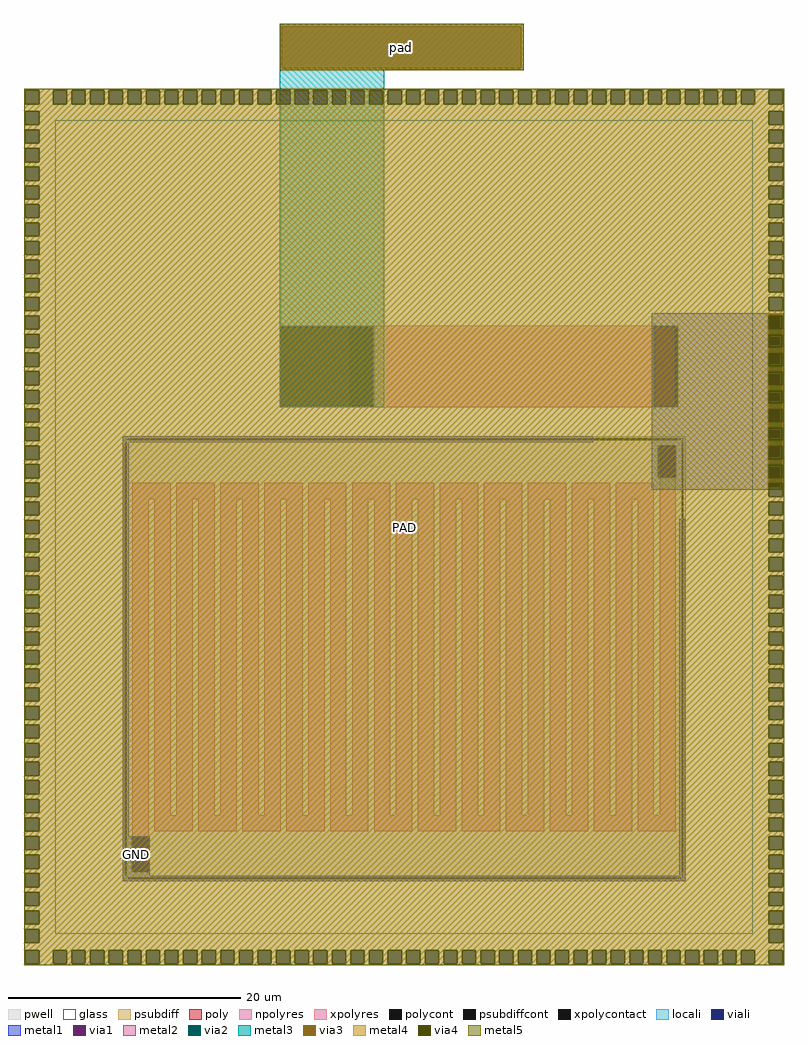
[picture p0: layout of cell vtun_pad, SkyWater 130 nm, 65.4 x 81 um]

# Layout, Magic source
magic
tech sky130A
magscale 1 2
<< pwell >>
rect 1700 1440 11386 9104
<< psubdiff >>
rect 1736 9034 1832 9068
rect 11254 9034 11350 9068
rect 1736 8972 1770 9034
rect 11316 8972 11350 9034
rect 1736 1510 1770 1572
rect 11316 1510 11350 1572
rect 1736 1476 1832 1510
rect 11254 1476 11350 1510
<< psubdiffcont >>
rect 1832 9034 11254 9068
rect 1736 1572 1770 8972
rect 11316 1572 11350 8972
rect 1832 1476 11254 1510
<< poly >>
rect 5600 10984 6030 11000
rect 5600 9616 5616 10984
rect 5650 9616 6030 10984
rect 5600 9600 6030 9616
rect 10830 10984 11260 11000
rect 10830 9616 11210 10984
rect 11244 9616 11260 10984
rect 10830 9600 11260 9616
<< polycont >>
rect 5616 9616 5650 10984
rect 11210 9616 11244 10984
<< xpolycontact >>
rect 10938 8406 11220 8938
rect 1866 1606 2148 2198
<< npolyres >>
rect 6030 9600 10830 11000
<< xpolyres >>
rect 1866 8020 2526 8302
rect 1866 2198 2148 8020
rect 2244 2584 2526 8020
rect 2622 8020 3282 8302
rect 2622 2584 2904 8020
rect 2244 2302 2904 2584
rect 3000 2584 3282 8020
rect 3378 8020 4038 8302
rect 3378 2584 3660 8020
rect 3000 2302 3660 2584
rect 3756 2584 4038 8020
rect 4134 8020 4794 8302
rect 4134 2584 4416 8020
rect 3756 2302 4416 2584
rect 4512 2584 4794 8020
rect 4890 8020 5550 8302
rect 4890 2584 5172 8020
rect 4512 2302 5172 2584
rect 5268 2584 5550 8020
rect 5646 8020 6306 8302
rect 5646 2584 5928 8020
rect 5268 2302 5928 2584
rect 6024 2584 6306 8020
rect 6402 8020 7062 8302
rect 6402 2584 6684 8020
rect 6024 2302 6684 2584
rect 6780 2584 7062 8020
rect 7158 8020 7818 8302
rect 7158 2584 7440 8020
rect 6780 2302 7440 2584
rect 7536 2584 7818 8020
rect 7914 8020 8574 8302
rect 7914 2584 8196 8020
rect 7536 2302 8196 2584
rect 8292 2584 8574 8020
rect 8670 8020 9330 8302
rect 8670 2584 8952 8020
rect 8292 2302 8952 2584
rect 9048 2584 9330 8020
rect 9426 8020 10086 8302
rect 9426 2584 9708 8020
rect 9048 2302 9708 2584
rect 9804 2584 10086 8020
rect 10182 8020 10842 8302
rect 10182 2584 10464 8020
rect 9804 2302 10464 2584
rect 10560 2584 10842 8020
rect 10938 2584 11220 8406
rect 10560 2302 11220 2584
<< locali >>
rect 5616 10984 5650 11000
rect 11210 10984 11244 11000
rect 5616 9600 5650 9616
rect 11210 9600 11244 9616
rect 1736 9034 1832 9068
rect 11254 9034 11350 9068
rect 1736 8972 1770 9034
rect 11316 8972 11350 9034
rect 1736 1510 1770 1572
rect 11316 1510 11350 1572
rect 1736 1476 1832 1510
rect 11254 1476 11350 1510
<< viali >>
rect 5616 9616 5650 10984
rect 5650 9616 6013 10984
rect 10847 9616 11210 10984
rect 11210 9616 11244 10984
rect 10920 8938 11220 8940
rect 10920 8406 10938 8938
rect 10938 8406 11220 8938
rect 10920 8400 11220 8406
rect 1866 1606 2148 2198
<< metal1 >>
rect 10800 11200 13080 11220
rect 4400 10984 6020 11000
rect 4400 10980 5616 10984
rect 4400 9620 4420 10980
rect 4400 9616 5616 9620
rect 6013 9616 6020 10984
rect 4400 9600 6020 9616
rect 10800 10984 12820 11200
rect 10800 9616 10847 10984
rect 11244 9616 12820 10984
rect 1700 9000 9800 9104
rect 1700 2220 1800 9000
rect 10800 8940 12820 9616
rect 10800 8400 10920 8940
rect 11220 8400 12820 8940
rect 10800 8200 12820 8400
rect 13060 8200 13080 11200
rect 10800 8180 13080 8200
rect 1700 2198 2160 2220
rect 1700 1606 1866 2198
rect 2148 1606 2160 2198
rect 1700 1540 2160 1606
rect 11280 1540 11380 7680
rect 1700 1440 11380 1540
<< via1 >>
rect 4420 9620 5616 10980
rect 5616 9620 6000 10980
rect 12820 8200 13060 11200
<< metal2 >>
rect 12800 11200 13080 11220
rect 4400 10980 6020 11000
rect 4400 9620 4420 10980
rect 6000 9620 6020 10980
rect 4400 9600 6020 9620
rect 12800 8200 12820 11200
rect 13060 8200 13080 11200
rect 12800 8180 13080 8200
<< via2 >>
rect 4420 9620 6000 10980
rect 12820 8200 13060 11200
<< metal3 >>
rect 4400 16160 8600 16200
rect 4400 15440 4440 16160
rect 8560 15440 8600 16160
rect 4400 15400 8600 15440
rect 4400 10980 6200 15400
rect 4400 9620 4420 10980
rect 6000 9620 6200 10980
rect 4400 9600 6200 9620
rect 12800 11200 13080 11220
rect 12800 8200 12820 11200
rect 13060 8200 13080 11200
rect 12800 8180 13080 8200
<< via3 >>
rect 4440 15440 8560 16160
rect 12820 8200 13060 11200
<< metal4 >>
rect 4400 16160 8600 16200
rect 4400 15440 4440 16160
rect 8560 15440 8600 16160
rect 4400 15400 8600 15440
rect 0 15056 13080 15080
rect 0 14820 24 15056
rect 260 14820 502 15056
rect 738 14820 822 15056
rect 1058 14820 1142 15056
rect 1378 14820 1462 15056
rect 1698 14820 1782 15056
rect 2018 14820 2102 15056
rect 2338 14820 2422 15056
rect 2658 14820 2742 15056
rect 2978 14820 3062 15056
rect 3298 14820 3382 15056
rect 3618 14820 3702 15056
rect 3938 14820 4022 15056
rect 4258 14820 4342 15056
rect 4578 14820 4662 15056
rect 4898 14820 4982 15056
rect 5218 14820 5302 15056
rect 5538 14820 5622 15056
rect 5858 14820 5942 15056
rect 6178 14820 6262 15056
rect 6498 14820 6582 15056
rect 6818 14820 6902 15056
rect 7138 14820 7222 15056
rect 7458 14820 7542 15056
rect 7778 14820 7862 15056
rect 8098 14820 8182 15056
rect 8418 14820 8502 15056
rect 8738 14820 8822 15056
rect 9058 14820 9142 15056
rect 9378 14820 9462 15056
rect 9698 14820 9782 15056
rect 10018 14820 10102 15056
rect 10338 14820 10422 15056
rect 10658 14820 10742 15056
rect 10978 14820 11062 15056
rect 11298 14820 11382 15056
rect 11618 14820 11702 15056
rect 11938 14820 12022 15056
rect 12258 14820 12342 15056
rect 12578 14820 12820 15056
rect 13056 14820 13080 15056
rect 0 14698 13080 14820
rect 0 14462 24 14698
rect 260 14462 12820 14698
rect 13056 14462 13080 14698
rect 0 14378 13080 14462
rect 0 14142 24 14378
rect 260 14142 12820 14378
rect 13056 14142 13080 14378
rect 0 14058 13080 14142
rect 0 13822 24 14058
rect 260 13822 12820 14058
rect 13056 13822 13080 14058
rect 0 13738 13080 13822
rect 0 13502 24 13738
rect 260 13502 12820 13738
rect 13056 13502 13080 13738
rect 0 13418 13080 13502
rect 0 13182 24 13418
rect 260 13182 12820 13418
rect 13056 13182 13080 13418
rect 0 13098 13080 13182
rect 0 12862 24 13098
rect 260 12862 12820 13098
rect 13056 12862 13080 13098
rect 0 12778 13080 12862
rect 0 12542 24 12778
rect 260 12542 12820 12778
rect 13056 12542 13080 12778
rect 0 12458 13080 12542
rect 0 12222 24 12458
rect 260 12222 12820 12458
rect 13056 12222 13080 12458
rect 0 12138 13080 12222
rect 0 11902 24 12138
rect 260 11902 12820 12138
rect 13056 11902 13080 12138
rect 0 11818 13080 11902
rect 0 11582 24 11818
rect 260 11582 12820 11818
rect 13056 11582 13080 11818
rect 0 11498 13080 11582
rect 0 11262 24 11498
rect 260 11262 12820 11498
rect 13056 11262 13080 11498
rect 0 11200 13080 11262
rect 0 11178 12820 11200
rect 0 10942 24 11178
rect 260 10942 12820 11178
rect 0 10858 12820 10942
rect 0 10622 24 10858
rect 260 10622 12820 10858
rect 0 10538 12820 10622
rect 0 10302 24 10538
rect 260 10302 12820 10538
rect 0 10218 12820 10302
rect 0 9982 24 10218
rect 260 9982 12820 10218
rect 0 9898 12820 9982
rect 0 9662 24 9898
rect 260 9662 12820 9898
rect 0 9578 12820 9662
rect 0 9342 24 9578
rect 260 9342 12820 9578
rect 0 9258 12820 9342
rect 0 9022 24 9258
rect 260 9022 12820 9258
rect 0 8938 12820 9022
rect 0 8702 24 8938
rect 260 8702 12820 8938
rect 0 8618 12820 8702
rect 0 8382 24 8618
rect 260 8382 12820 8618
rect 0 8298 12820 8382
rect 0 8062 24 8298
rect 260 8062 12820 8298
rect 13060 8200 13080 11200
rect 13056 8062 13080 8200
rect 0 7978 13080 8062
rect 0 7742 24 7978
rect 260 7742 12820 7978
rect 13056 7742 13080 7978
rect 0 7658 13080 7742
rect 0 7422 24 7658
rect 260 7422 12820 7658
rect 13056 7422 13080 7658
rect 0 7338 13080 7422
rect 0 7102 24 7338
rect 260 7102 12820 7338
rect 13056 7102 13080 7338
rect 0 7018 13080 7102
rect 0 6782 24 7018
rect 260 6782 12820 7018
rect 13056 6782 13080 7018
rect 0 6698 13080 6782
rect 0 6462 24 6698
rect 260 6462 12820 6698
rect 13056 6462 13080 6698
rect 0 6378 13080 6462
rect 0 6142 24 6378
rect 260 6142 12820 6378
rect 13056 6142 13080 6378
rect 0 6058 13080 6142
rect 0 5822 24 6058
rect 260 5822 12820 6058
rect 13056 5822 13080 6058
rect 0 5738 13080 5822
rect 0 5502 24 5738
rect 260 5502 12820 5738
rect 13056 5502 13080 5738
rect 0 5418 13080 5502
rect 0 5182 24 5418
rect 260 5182 12820 5418
rect 13056 5182 13080 5418
rect 0 5098 13080 5182
rect 0 4862 24 5098
rect 260 4862 12820 5098
rect 13056 4862 13080 5098
rect 0 4778 13080 4862
rect 0 4542 24 4778
rect 260 4542 12820 4778
rect 13056 4542 13080 4778
rect 0 4458 13080 4542
rect 0 4222 24 4458
rect 260 4222 12820 4458
rect 13056 4222 13080 4458
rect 0 4138 13080 4222
rect 0 3902 24 4138
rect 260 3902 12820 4138
rect 13056 3902 13080 4138
rect 0 3818 13080 3902
rect 0 3582 24 3818
rect 260 3582 12820 3818
rect 13056 3582 13080 3818
rect 0 3498 13080 3582
rect 0 3262 24 3498
rect 260 3262 12820 3498
rect 13056 3262 13080 3498
rect 0 3178 13080 3262
rect 0 2942 24 3178
rect 260 2942 12820 3178
rect 13056 2942 13080 3178
rect 0 2858 13080 2942
rect 0 2622 24 2858
rect 260 2622 12820 2858
rect 13056 2622 13080 2858
rect 0 2538 13080 2622
rect 0 2302 24 2538
rect 260 2302 12820 2538
rect 13056 2302 13080 2538
rect 0 2218 13080 2302
rect 0 1982 24 2218
rect 260 1982 12820 2218
rect 13056 1982 13080 2218
rect 0 1898 13080 1982
rect 0 1662 24 1898
rect 260 1662 12820 1898
rect 13056 1662 13080 1898
rect 0 1578 13080 1662
rect 0 1342 24 1578
rect 260 1342 12820 1578
rect 13056 1342 13080 1578
rect 0 1258 13080 1342
rect 0 1022 24 1258
rect 260 1022 12820 1258
rect 13056 1022 13080 1258
rect 0 938 13080 1022
rect 0 702 24 938
rect 260 702 12820 938
rect 13056 702 13080 938
rect 0 618 13080 702
rect 0 382 24 618
rect 260 382 12820 618
rect 13056 382 13080 618
rect 0 260 13080 382
rect 0 24 24 260
rect 260 24 502 260
rect 738 24 822 260
rect 1058 24 1142 260
rect 1378 24 1462 260
rect 1698 24 1782 260
rect 2018 24 2102 260
rect 2338 24 2422 260
rect 2658 24 2742 260
rect 2978 24 3062 260
rect 3298 24 3382 260
rect 3618 24 3702 260
rect 3938 24 4022 260
rect 4258 24 4342 260
rect 4578 24 4662 260
rect 4898 24 4982 260
rect 5218 24 5302 260
rect 5538 24 5622 260
rect 5858 24 5942 260
rect 6178 24 6262 260
rect 6498 24 6582 260
rect 6818 24 6902 260
rect 7138 24 7222 260
rect 7458 24 7542 260
rect 7778 24 7862 260
rect 8098 24 8182 260
rect 8418 24 8502 260
rect 8738 24 8822 260
rect 9058 24 9142 260
rect 9378 24 9462 260
rect 9698 24 9782 260
rect 10018 24 10102 260
rect 10338 24 10422 260
rect 10658 24 10742 260
rect 10978 24 11062 260
rect 11298 24 11382 260
rect 11618 24 11702 260
rect 11938 24 12022 260
rect 12258 24 12342 260
rect 12578 24 12820 260
rect 13056 24 13080 260
rect 0 0 13080 24
<< via4 >>
rect 24 14820 260 15056
rect 502 14820 738 15056
rect 822 14820 1058 15056
rect 1142 14820 1378 15056
rect 1462 14820 1698 15056
rect 1782 14820 2018 15056
rect 2102 14820 2338 15056
rect 2422 14820 2658 15056
rect 2742 14820 2978 15056
rect 3062 14820 3298 15056
rect 3382 14820 3618 15056
rect 3702 14820 3938 15056
rect 4022 14820 4258 15056
rect 4342 14820 4578 15056
rect 4662 14820 4898 15056
rect 4982 14820 5218 15056
rect 5302 14820 5538 15056
rect 5622 14820 5858 15056
rect 5942 14820 6178 15056
rect 6262 14820 6498 15056
rect 6582 14820 6818 15056
rect 6902 14820 7138 15056
rect 7222 14820 7458 15056
rect 7542 14820 7778 15056
rect 7862 14820 8098 15056
rect 8182 14820 8418 15056
rect 8502 14820 8738 15056
rect 8822 14820 9058 15056
rect 9142 14820 9378 15056
rect 9462 14820 9698 15056
rect 9782 14820 10018 15056
rect 10102 14820 10338 15056
rect 10422 14820 10658 15056
rect 10742 14820 10978 15056
rect 11062 14820 11298 15056
rect 11382 14820 11618 15056
rect 11702 14820 11938 15056
rect 12022 14820 12258 15056
rect 12342 14820 12578 15056
rect 12820 14820 13056 15056
rect 24 14462 260 14698
rect 12820 14462 13056 14698
rect 24 14142 260 14378
rect 12820 14142 13056 14378
rect 24 13822 260 14058
rect 12820 13822 13056 14058
rect 24 13502 260 13738
rect 12820 13502 13056 13738
rect 24 13182 260 13418
rect 12820 13182 13056 13418
rect 24 12862 260 13098
rect 12820 12862 13056 13098
rect 24 12542 260 12778
rect 12820 12542 13056 12778
rect 24 12222 260 12458
rect 12820 12222 13056 12458
rect 24 11902 260 12138
rect 12820 11902 13056 12138
rect 24 11582 260 11818
rect 12820 11582 13056 11818
rect 24 11262 260 11498
rect 12820 11262 13056 11498
rect 24 10942 260 11178
rect 12820 10942 13056 11178
rect 24 10622 260 10858
rect 12820 10622 13056 10858
rect 24 10302 260 10538
rect 12820 10302 13056 10538
rect 24 9982 260 10218
rect 12820 9982 13056 10218
rect 24 9662 260 9898
rect 12820 9662 13056 9898
rect 24 9342 260 9578
rect 12820 9342 13056 9578
rect 24 9022 260 9258
rect 12820 9022 13056 9258
rect 24 8702 260 8938
rect 12820 8702 13056 8938
rect 24 8382 260 8618
rect 12820 8382 13056 8618
rect 24 8062 260 8298
rect 12820 8200 13056 8298
rect 12820 8062 13056 8200
rect 24 7742 260 7978
rect 12820 7742 13056 7978
rect 24 7422 260 7658
rect 12820 7422 13056 7658
rect 24 7102 260 7338
rect 12820 7102 13056 7338
rect 24 6782 260 7018
rect 12820 6782 13056 7018
rect 24 6462 260 6698
rect 12820 6462 13056 6698
rect 24 6142 260 6378
rect 12820 6142 13056 6378
rect 24 5822 260 6058
rect 12820 5822 13056 6058
rect 24 5502 260 5738
rect 12820 5502 13056 5738
rect 24 5182 260 5418
rect 12820 5182 13056 5418
rect 24 4862 260 5098
rect 12820 4862 13056 5098
rect 24 4542 260 4778
rect 12820 4542 13056 4778
rect 24 4222 260 4458
rect 12820 4222 13056 4458
rect 24 3902 260 4138
rect 12820 3902 13056 4138
rect 24 3582 260 3818
rect 12820 3582 13056 3818
rect 24 3262 260 3498
rect 12820 3262 13056 3498
rect 24 2942 260 3178
rect 12820 2942 13056 3178
rect 24 2622 260 2858
rect 12820 2622 13056 2858
rect 24 2302 260 2538
rect 12820 2302 13056 2538
rect 24 1982 260 2218
rect 12820 1982 13056 2218
rect 24 1662 260 1898
rect 12820 1662 13056 1898
rect 24 1342 260 1578
rect 12820 1342 13056 1578
rect 24 1022 260 1258
rect 12820 1022 13056 1258
rect 24 702 260 938
rect 12820 702 13056 938
rect 24 382 260 618
rect 12820 382 13056 618
rect 24 24 260 260
rect 502 24 738 260
rect 822 24 1058 260
rect 1142 24 1378 260
rect 1462 24 1698 260
rect 1782 24 2018 260
rect 2102 24 2338 260
rect 2422 24 2658 260
rect 2742 24 2978 260
rect 3062 24 3298 260
rect 3382 24 3618 260
rect 3702 24 3938 260
rect 4022 24 4258 260
rect 4342 24 4578 260
rect 4662 24 4898 260
rect 4982 24 5218 260
rect 5302 24 5538 260
rect 5622 24 5858 260
rect 5942 24 6178 260
rect 6262 24 6498 260
rect 6582 24 6818 260
rect 6902 24 7138 260
rect 7222 24 7458 260
rect 7542 24 7778 260
rect 7862 24 8098 260
rect 8182 24 8418 260
rect 8502 24 8738 260
rect 8822 24 9058 260
rect 9142 24 9378 260
rect 9462 24 9698 260
rect 9782 24 10018 260
rect 10102 24 10338 260
rect 10422 24 10658 260
rect 10742 24 10978 260
rect 11062 24 11298 260
rect 11382 24 11618 260
rect 11702 24 11938 260
rect 12022 24 12258 260
rect 12342 24 12578 260
rect 12820 24 13056 260
<< metal5 >>
rect 4400 15400 8600 16200
rect 0 15056 13080 15080
rect 0 14820 24 15056
rect 260 14820 502 15056
rect 738 14820 822 15056
rect 1058 14820 1142 15056
rect 1378 14820 1462 15056
rect 1698 14820 1782 15056
rect 2018 14820 2102 15056
rect 2338 14820 2422 15056
rect 2658 14820 2742 15056
rect 2978 14820 3062 15056
rect 3298 14820 3382 15056
rect 3618 14820 3702 15056
rect 3938 14820 4022 15056
rect 4258 14820 4342 15056
rect 4578 14820 4662 15056
rect 4898 14820 4982 15056
rect 5218 14820 5302 15056
rect 5538 14820 5622 15056
rect 5858 14820 5942 15056
rect 6178 14820 6262 15056
rect 6498 14820 6582 15056
rect 6818 14820 6902 15056
rect 7138 14820 7222 15056
rect 7458 14820 7542 15056
rect 7778 14820 7862 15056
rect 8098 14820 8182 15056
rect 8418 14820 8502 15056
rect 8738 14820 8822 15056
rect 9058 14820 9142 15056
rect 9378 14820 9462 15056
rect 9698 14820 9782 15056
rect 10018 14820 10102 15056
rect 10338 14820 10422 15056
rect 10658 14820 10742 15056
rect 10978 14820 11062 15056
rect 11298 14820 11382 15056
rect 11618 14820 11702 15056
rect 11938 14820 12022 15056
rect 12258 14820 12342 15056
rect 12578 14820 12820 15056
rect 13056 14820 13080 15056
rect 0 14698 13080 14820
rect 0 14462 24 14698
rect 260 14462 12820 14698
rect 13056 14462 13080 14698
rect 0 14378 13080 14462
rect 0 14142 24 14378
rect 260 14142 12820 14378
rect 13056 14142 13080 14378
rect 0 14058 13080 14142
rect 0 13822 24 14058
rect 260 13822 12820 14058
rect 13056 13822 13080 14058
rect 0 13738 13080 13822
rect 0 13502 24 13738
rect 260 13502 12820 13738
rect 13056 13502 13080 13738
rect 0 13418 13080 13502
rect 0 13182 24 13418
rect 260 13182 12820 13418
rect 13056 13182 13080 13418
rect 0 13098 13080 13182
rect 0 12862 24 13098
rect 260 12862 12820 13098
rect 13056 12862 13080 13098
rect 0 12778 13080 12862
rect 0 12542 24 12778
rect 260 12542 12820 12778
rect 13056 12542 13080 12778
rect 0 12458 13080 12542
rect 0 12222 24 12458
rect 260 12222 12820 12458
rect 13056 12222 13080 12458
rect 0 12138 13080 12222
rect 0 11902 24 12138
rect 260 11902 12820 12138
rect 13056 11902 13080 12138
rect 0 11818 13080 11902
rect 0 11582 24 11818
rect 260 11582 12820 11818
rect 13056 11582 13080 11818
rect 0 11498 13080 11582
rect 0 11262 24 11498
rect 260 11262 12820 11498
rect 13056 11262 13080 11498
rect 0 11178 13080 11262
rect 0 10942 24 11178
rect 260 10942 12820 11178
rect 13056 10942 13080 11178
rect 0 10858 13080 10942
rect 0 10622 24 10858
rect 260 10622 12820 10858
rect 13056 10622 13080 10858
rect 0 10538 13080 10622
rect 0 10302 24 10538
rect 260 10302 12820 10538
rect 13056 10302 13080 10538
rect 0 10218 13080 10302
rect 0 9982 24 10218
rect 260 9982 12820 10218
rect 13056 9982 13080 10218
rect 0 9898 13080 9982
rect 0 9662 24 9898
rect 260 9662 12820 9898
rect 13056 9662 13080 9898
rect 0 9578 13080 9662
rect 0 9342 24 9578
rect 260 9342 12820 9578
rect 13056 9342 13080 9578
rect 0 9258 13080 9342
rect 0 9022 24 9258
rect 260 9022 12820 9258
rect 13056 9022 13080 9258
rect 0 8938 13080 9022
rect 0 8702 24 8938
rect 260 8702 12820 8938
rect 13056 8702 13080 8938
rect 0 8618 13080 8702
rect 0 8382 24 8618
rect 260 8382 12820 8618
rect 13056 8382 13080 8618
rect 0 8298 13080 8382
rect 0 8062 24 8298
rect 260 8062 12820 8298
rect 13056 8062 13080 8298
rect 0 7978 13080 8062
rect 0 7742 24 7978
rect 260 7742 12820 7978
rect 13056 7742 13080 7978
rect 0 7658 13080 7742
rect 0 7422 24 7658
rect 260 7422 12820 7658
rect 13056 7422 13080 7658
rect 0 7338 13080 7422
rect 0 7102 24 7338
rect 260 7102 12820 7338
rect 13056 7102 13080 7338
rect 0 7018 13080 7102
rect 0 6782 24 7018
rect 260 6782 12820 7018
rect 13056 6782 13080 7018
rect 0 6698 13080 6782
rect 0 6462 24 6698
rect 260 6462 12820 6698
rect 13056 6462 13080 6698
rect 0 6378 13080 6462
rect 0 6142 24 6378
rect 260 6142 12820 6378
rect 13056 6142 13080 6378
rect 0 6058 13080 6142
rect 0 5822 24 6058
rect 260 5822 12820 6058
rect 13056 5822 13080 6058
rect 0 5738 13080 5822
rect 0 5502 24 5738
rect 260 5502 12820 5738
rect 13056 5502 13080 5738
rect 0 5418 13080 5502
rect 0 5182 24 5418
rect 260 5182 12820 5418
rect 13056 5182 13080 5418
rect 0 5098 13080 5182
rect 0 4862 24 5098
rect 260 4862 12820 5098
rect 13056 4862 13080 5098
rect 0 4778 13080 4862
rect 0 4542 24 4778
rect 260 4542 12820 4778
rect 13056 4542 13080 4778
rect 0 4458 13080 4542
rect 0 4222 24 4458
rect 260 4222 12820 4458
rect 13056 4222 13080 4458
rect 0 4138 13080 4222
rect 0 3902 24 4138
rect 260 3902 12820 4138
rect 13056 3902 13080 4138
rect 0 3818 13080 3902
rect 0 3582 24 3818
rect 260 3582 12820 3818
rect 13056 3582 13080 3818
rect 0 3498 13080 3582
rect 0 3262 24 3498
rect 260 3262 12820 3498
rect 13056 3262 13080 3498
rect 0 3178 13080 3262
rect 0 2942 24 3178
rect 260 2942 12820 3178
rect 13056 2942 13080 3178
rect 0 2858 13080 2942
rect 0 2622 24 2858
rect 260 2622 12820 2858
rect 13056 2622 13080 2858
rect 0 2538 13080 2622
rect 0 2302 24 2538
rect 260 2302 12820 2538
rect 13056 2302 13080 2538
rect 0 2218 13080 2302
rect 0 1982 24 2218
rect 260 1982 12820 2218
rect 13056 1982 13080 2218
rect 0 1898 13080 1982
rect 0 1662 24 1898
rect 260 1662 12820 1898
rect 13056 1662 13080 1898
rect 0 1578 13080 1662
rect 0 1342 24 1578
rect 260 1342 12820 1578
rect 13056 1342 13080 1578
rect 0 1258 13080 1342
rect 0 1022 24 1258
rect 260 1022 12820 1258
rect 13056 1022 13080 1258
rect 0 938 13080 1022
rect 0 702 24 938
rect 260 702 12820 938
rect 13056 702 13080 938
rect 0 618 13080 702
rect 0 382 24 618
rect 260 382 12820 618
rect 13056 382 13080 618
rect 0 260 13080 382
rect 0 24 24 260
rect 260 24 502 260
rect 738 24 822 260
rect 1058 24 1142 260
rect 1378 24 1462 260
rect 1698 24 1782 260
rect 2018 24 2102 260
rect 2338 24 2422 260
rect 2658 24 2742 260
rect 2978 24 3062 260
rect 3298 24 3382 260
rect 3618 24 3702 260
rect 3938 24 4022 260
rect 4258 24 4342 260
rect 4578 24 4662 260
rect 4898 24 4982 260
rect 5218 24 5302 260
rect 5538 24 5622 260
rect 5858 24 5942 260
rect 6178 24 6262 260
rect 6498 24 6582 260
rect 6818 24 6902 260
rect 7138 24 7222 260
rect 7458 24 7542 260
rect 7778 24 7862 260
rect 8098 24 8182 260
rect 8418 24 8502 260
rect 8738 24 8822 260
rect 9058 24 9142 260
rect 9378 24 9462 260
rect 9698 24 9782 260
rect 10018 24 10102 260
rect 10338 24 10422 260
rect 10658 24 10742 260
rect 10978 24 11062 260
rect 11298 24 11382 260
rect 11618 24 11702 260
rect 11938 24 12022 260
rect 12258 24 12342 260
rect 12578 24 12820 260
rect 13056 24 13080 260
rect 0 0 13080 24
<< glass >>
rect 540 540 12540 14540
<< labels >>
flabel metal5 4400 15400 8600 16200 0 FreeSans 6400 0 0 0 pad
port 1 nsew
flabel metal1 1700 1600 2160 2200 0 FreeSans 3200 0 0 0 GND
flabel metal5 s 260 260 12820 14820 0 FreeSans 2000 0 0 0 PAD
<< end >>
